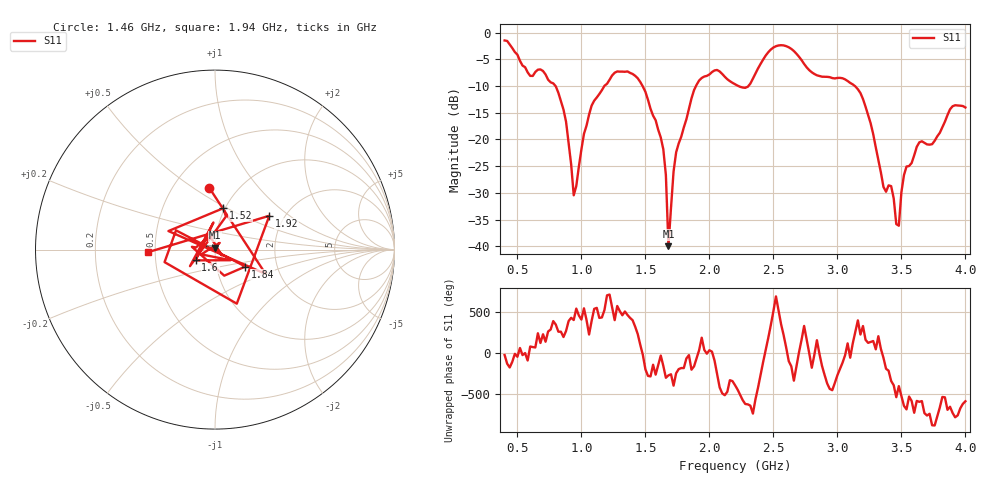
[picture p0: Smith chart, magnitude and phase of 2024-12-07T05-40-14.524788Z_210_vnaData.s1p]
!Created with skrf (http://scikit-rf.org).
# Hz S RI R 50.0
!freq ReS11 ImS11
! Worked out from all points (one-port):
!   181 points, 400 MHz to 4 GHz, reference 50 ohm
!   lowest |S11| = -40.0 dB at 1.68 GHz (marker M1), VSWR 1.02, Z = 50.1 + j1 ohm
!   |S11| at or under -10 dB: 797.8 MHz to 1.179 GHz (381.2 MHz wide, 38.6 % of centre); 1.478 GHz to 1.895 GHz (417.5 MHz wide, 24.8 % of centre); 3.136 GHz to end of sweep (the widest 3 of 4)
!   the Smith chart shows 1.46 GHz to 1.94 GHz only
!   S11 on the Smith chart (normalised r, x): 1.46 GHz: 0.75, +0.58; 1.52 GHz: 0.98, +0.48; 1.6 GHz: 0.80, -0.10; 1.84 GHz: 1.38, -0.27; 1.92 GHz: 1.67, +0.72; 1.94 GHz: 0.45, -0.02
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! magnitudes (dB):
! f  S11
! 400 MHz  -1.5
! 700 MHz  -7.2
! 860 MHz  -14.4
! 940 MHz  -30.4
! 1.08 GHz  -13.7
! 1.3 GHz  -7.3
! 1.46 GHz  -9.2
! 1.52 GHz  -12.6
! 1.6 GHz  -18.2
! 1.66 GHz  -26.6
! 1.68 GHz  -40.0
! 1.72 GHz  -26.0
! 1.76 GHz  -20.7
! 1.84 GHz  -14.3
! 1.92 GHz  -9.0
! 1.94 GHz  -8.5
! 2.2 GHz  -9.7
! 2.3 GHz  -10.1
! 2.5 GHz  -2.8
! 2.66 GHz  -3.5
! 3.1 GHz  -9.4
! 3.22 GHz  -13.9
! 3.36 GHz  -28.9
! 3.42 GHz  -28.7
! 3.46 GHz  -35.8
! 3.56 GHz  -25.0
! 3.9 GHz  -13.8
! 4 GHz  -14.0
